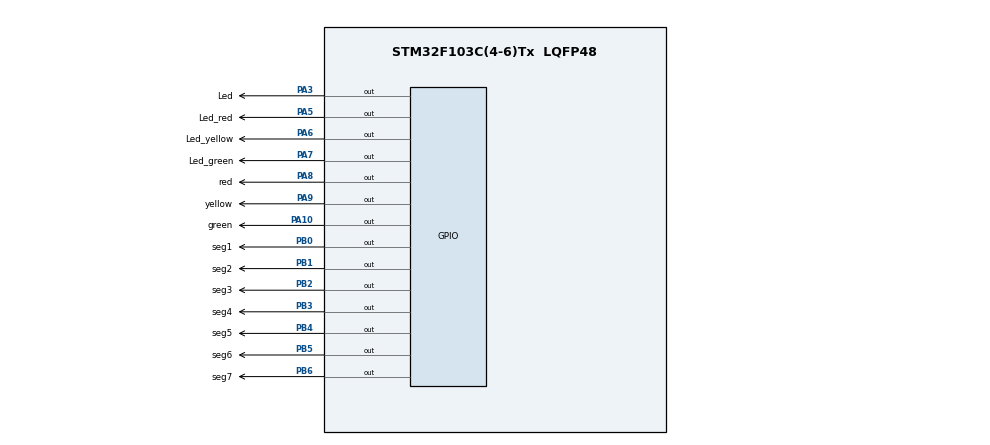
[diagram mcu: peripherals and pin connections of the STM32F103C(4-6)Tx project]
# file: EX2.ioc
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Mcu.Family=STM32F1
Mcu.Name=STM32F103C(4-6)Tx
Mcu.Package=LQFP48
NVIC.PriorityGroup=NVIC_PRIORITYGROUP_4
NVIC.TIM2_IRQn=true\:0\:0\:false\:false\:true\:true\:true\:true
PA10.GPIO_Label=green
PA10.Signal=GPIO_Output
PA3.GPIO_Label=Led
PA3.Signal=GPIO_Output
PA5.GPIO_Label=Led_red
PA5.Signal=GPIO_Output
PA6.GPIO_Label=Led_yellow
PA6.Signal=GPIO_Output
PA7.GPIO_Label=Led_green
PA7.Signal=GPIO_Output
PA8.GPIO_Label=red
PA8.Signal=GPIO_Output
PA9.GPIO_Label=yellow
PA9.Signal=GPIO_Output
PB0.GPIO_Label=seg1
PB0.Signal=GPIO_Output
PB1.GPIO_Label=seg2
PB1.Signal=GPIO_Output
PB2.GPIO_Label=seg3
PB2.Signal=GPIO_Output
PB3.GPIO_Label=seg4
PB3.Signal=GPIO_Output
PB4.GPIO_Label=seg5
PB4.Signal=GPIO_Output
PB5.GPIO_Label=seg6
PB5.Signal=GPIO_Output
PB6.GPIO_Label=seg7
PB6.Signal=GPIO_Output
ProjectManager.HeapSize=0x200
ProjectManager.StackSize=0x400
ProjectManager.TargetToolchain=STM32CubeIDE
RCC.APB1Freq_Value=8000000
RCC.APB2Freq_Value=8000000
TIM2.Period=9
TIM2.Prescaler=7999
VP_SYS_VS_ND.Mode=No_Debug
VP_TIM2_VS_ClockSourceINT.Mode=Internal
board=custom

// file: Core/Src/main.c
/* USER CODE BEGIN Header */
/**
  ******************************************************************************
  * @file           : main.c
  * @brief          : Main program body
  ******************************************************************************
  * @attention
  *
  * Copyright (c) 2024 STMicroelectronics.
  * All rights reserved.
  *
  * This software is licensed under terms that can be found in the LICENSE file
  * in the root directory of this software component.
  * If no LICENSE file comes with this software, it is provided AS-IS.
  *
  ******************************************************************************
  */
/* USER CODE END Header */
#include "main.h"

/* USER CODE BEGIN Includes */
#include "software_timer.h"
/* USER CODE END Includes */

TIM_HandleTypeDef htim2;

void SystemClock_Config(void);
static void MX_GPIO_Init(void);
static void MX_TIM2_Init(void);

int main(void)
{

  /* USER CODE BEGIN 1 */
	void run1(){
		HAL_GPIO_WritePin(red_GPIO_Port, red_Pin, RESET);
					HAL_GPIO_WritePin(yellow_GPIO_Port, yellow_Pin, RESET);
					HAL_GPIO_WritePin(green_GPIO_Port, green_Pin, RESET);
	}

	void run2(){
		HAL_GPIO_WritePin(Led_red_GPIO_Port, Led_red_Pin, RESET);
				HAL_GPIO_WritePin(Led_yellow_GPIO_Port, Led_yellow_Pin, RESET);
				HAL_GPIO_WritePin(Led_green_GPIO_Port, Led_green_Pin, RESET);
	}

	void run_led(int a){
		 switch(a){
			 case 0:
				 HAL_GPIO_WritePin(seg1_GPIO_Port, seg1_Pin, GPIO_PIN_RESET);
				   HAL_GPIO_WritePin(seg2_GPIO_Port, seg2_Pin, GPIO_PIN_RESET);
				   HAL_GPIO_WritePin(seg3_GPIO_Port, seg3_Pin, GPIO_PIN_RESET);
				   HAL_GPIO_WritePin(seg4_GPIO_Port, seg4_Pin, GPIO_PIN_RESET);
				   HAL_GPIO_WritePin(seg5_GPIO_Port, seg5_Pin, GPIO_PIN_RESET);
				   HAL_GPIO_WritePin(seg6_GPIO_Port, seg6_Pin, GPIO_PIN_RESET);
				   HAL_GPIO_WritePin(seg7_GPIO_Port, seg7_Pin, GPIO_PIN_SET);

				   break;

			 case 1:
				 HAL_GPIO_WritePin(seg2_GPIO_Port, seg2_Pin, GPIO_PIN_RESET);
				HAL_GPIO_WritePin(seg3_GPIO_Port, seg3_Pin, GPIO_PIN_RESET);

				HAL_GPIO_WritePin(seg1_GPIO_Port, seg1_Pin, GPIO_PIN_SET);
				  HAL_GPIO_WritePin(seg4_GPIO_Port, seg4_Pin, GPIO_PIN_SET);
				  HAL_GPIO_WritePin(seg5_GPIO_Port, seg5_Pin, GPIO_PIN_SET);
				  HAL_GPIO_WritePin(seg6_GPIO_Port, seg6_Pin, GPIO_PIN_SET);
				  HAL_GPIO_WritePin(seg7_GPIO_Port, seg7_Pin, GPIO_PIN_SET);

				  break;

			 case 2:
				 HAL_GPIO_WritePin(seg1_GPIO_Port, seg1_Pin, GPIO_PIN_RESET);
						   HAL_GPIO_WritePin(seg2_GPIO_Port, seg2_Pin, GPIO_PIN_RESET);
						   HAL_GPIO_WritePin(seg4_GPIO_Port, seg4_Pin, GPIO_PIN_RESET);
						  		   HAL_GPIO_WritePin(seg5_GPIO_Port, seg5_Pin, GPIO_PIN_RESET);
						  		 HAL_GPIO_WritePin(seg7_GPIO_Port, seg7_Pin, GPIO_PIN_RESET);

						  		  HAL_GPIO_WritePin(seg3_GPIO_Port, seg3_Pin, GPIO_PIN_SET);
						  		  HAL_GPIO_WritePin(seg6_GPIO_Port, seg6_Pin, GPIO_PIN_SET);
						  		  break;

			 case 3:
				 HAL_GPIO_WritePin(seg1_GPIO_Port, seg1_Pin, GPIO_PIN_RESET);
						   HAL_GPIO_WritePin(seg2_GPIO_Port, seg2_Pin, GPIO_PIN_RESET);
						   HAL_GPIO_WritePin(seg3_GPIO_Port, seg3_Pin, GPIO_PIN_RESET);
						   HAL_GPIO_WritePin(seg4_GPIO_Port, seg4_Pin, GPIO_PIN_RESET);
						   HAL_GPIO_WritePin(seg5_GPIO_Port, seg5_Pin, GPIO_PIN_SET);
						   HAL_GPIO_WritePin(seg6_GPIO_Port, seg6_Pin, GPIO_PIN_SET);
						   HAL_GPIO_WritePin(seg7_GPIO_Port, seg7_Pin, GPIO_PIN_RESET);
						   break;

			 case 4:
				 HAL_GPIO_WritePin(seg1_GPIO_Port, seg1_Pin, GPIO_PIN_SET);
						   HAL_GPIO_WritePin(seg2_GPIO_Port, seg2_Pin, GPIO_PIN_RESET);
						   HAL_GPIO_WritePin(seg3_GPIO_Port, seg3_Pin, GPIO_PIN_RESET);
						   HAL_GPIO_WritePin(seg4_GPIO_Port, seg4_Pin, GPIO_PIN_SET);
						   HAL_GPIO_WritePin(seg5_GPIO_Port, seg5_Pin, GPIO_PIN_SET);
						   HAL_GPIO_WritePin(seg6_GPIO_Port, seg6_Pin, GPIO_PIN_RESET);
						   HAL_GPIO_WritePin(seg7_GPIO_Port, seg7_Pin, GPIO_PIN_RESET);

						   break;

			 case 5:
				 HAL_GPIO_WritePin(seg1_GPIO_Port, seg1_Pin, GPIO_PIN_RESET);
						   HAL_GPIO_WritePin(seg2_GPIO_Port, seg2_Pin, GPIO_PIN_SET);
						   HAL_GPIO_WritePin(seg3_GPIO_Port, seg3_Pin, GPIO_PIN_RESET);
						   HAL_GPIO_WritePin(seg4_GPIO_Port, seg4_Pin, GPIO_PIN_RESET);
						   HAL_GPIO_WritePin(seg5_GPIO_Port, seg5_Pin, GPIO_PIN_SET);
						   HAL_GPIO_WritePin(seg6_GPIO_Port, seg6_Pin, GPIO_PIN_RESET);
						   HAL_GPIO_WritePin(seg7_GPIO_Port, seg7_Pin, GPIO_PIN_RESET);
						   break;
	}
	}
  /* USER CODE END 1 */

  /* MCU Configuration--------------------------------------------------------*/

  /* Reset of all peripherals, Initializes the Flash interface and the Systick. */
  HAL_Init();

  /* Configure the system clock */
  SystemClock_Config();

  /* Initialize all configured peripherals */
  MX_GPIO_Init();
  MX_TIM2_Init();
  /* USER CODE BEGIN 2 */
HAL_TIM_Base_Start_IT(&htim2);
  /* USER CODE END 2 */

  /* Infinite loop */
  /* USER CODE BEGIN WHILE */
setTimer1(100);
  int count = 11;
  int change = 2;
  while (1){
	  if(timer1_flag == 1){
		  setTimer1(100);
		  HAL_GPIO_TogglePin(Led_GPIO_Port, Led_Pin);

	  --count;
	  if(count > 5){
	  		run_led(count-5);
	  }

	  if(count <= 5 && count > 2){
		  run_led(count-2);
	  }

	  if(count <=2 && count >=0){
		  run_led(count);
	  }

if(change%2 == 0){
	run1();
if (count > 5){HAL_GPIO_WritePin(Led_red_GPIO_Port, Led_red_Pin, SET);}
if(count == 5){
	HAL_GPIO_WritePin(Led_red_GPIO_Port, Led_red_Pin, RESET);
	HAL_GPIO_WritePin(Led_yellow_GPIO_Port, Led_yellow_Pin, SET);
	HAL_GPIO_WritePin(Led_green_GPIO_Port, Led_green_Pin, RESET);
	  }
if(count == 2){
	HAL_GPIO_WritePin(Led_red_GPIO_Port, Led_red_Pin, RESET);
		HAL_GPIO_WritePin(Led_yellow_GPIO_Port, Led_yellow_Pin, RESET);
		HAL_GPIO_WritePin(Led_green_GPIO_Port, Led_green_Pin, SET);
  	  }

if(count == 0){
	HAL_GPIO_WritePin(Led_red_GPIO_Port, Led_red_Pin, RESET);
		HAL_GPIO_WritePin(Led_yellow_GPIO_Port, Led_yellow_Pin, RESET);
		HAL_GPIO_WritePin(Led_green_GPIO_Port, Led_green_Pin, RESET);
	  count = 11;
	  change++;
  }
}else if(change%2!=0){
 run2();
 if (count > 5){HAL_GPIO_WritePin(red_GPIO_Port, red_Pin, SET);}
if(count == 5){
	HAL_GPIO_WritePin(red_GPIO_Port, red_Pin, RESET);
		HAL_GPIO_WritePin(yellow_GPIO_Port, yellow_Pin, SET);
		HAL_GPIO_WritePin(green_GPIO_Port, green_Pin, RESET);
	  }
if(count == 2){
	HAL_GPIO_WritePin(red_GPIO_Port, red_Pin, RESET);
			HAL_GPIO_WritePin(yellow_GPIO_Port, yellow_Pin, RESET);
			HAL_GPIO_WritePin(green_GPIO_Port, green_Pin, SET);
	  }

if(count == 0){
	HAL_GPIO_WritePin(red_GPIO_Port, red_Pin, RESET);
			HAL_GPIO_WritePin(yellow_GPIO_Port, yellow_Pin, RESET);
			HAL_GPIO_WritePin(green_GPIO_Port, green_Pin, RESET);
	  count = 11;
	  change++;
}
}

	  } //timer

    /* USER CODE END WHILE */

  }
}

void SystemClock_Config(void)
{
  RCC_OscInitTypeDef RCC_OscInitStruct = {0};
  RCC_ClkInitTypeDef RCC_ClkInitStruct = {0};

  /** Initializes the RCC Oscillators according to the specified parameters
  * in the RCC_OscInitTypeDef structure.
  */
  RCC_OscInitStruct.OscillatorType = RCC_OSCILLATORTYPE_HSI;
  RCC_OscInitStruct.HSIState = RCC_HSI_ON;
  RCC_OscInitStruct.HSICalibrationValue = RCC_HSICALIBRATION_DEFAULT;
  RCC_OscInitStruct.PLL.PLLState = RCC_PLL_NONE;
  if (HAL_RCC_OscConfig(&RCC_OscInitStruct) != HAL_OK)
  {
    Error_Handler();
  }

  /** Initializes the CPU, AHB and APB buses clocks
  */
  RCC_ClkInitStruct.ClockType = RCC_CLOCKTYPE_HCLK|RCC_CLOCKTYPE_SYSCLK
                              |RCC_CLOCKTYPE_PCLK1|RCC_CLOCKTYPE_PCLK2;
  RCC_ClkInitStruct.SYSCLKSource = RCC_SYSCLKSOURCE_HSI;
  RCC_ClkInitStruct.AHBCLKDivider = RCC_SYSCLK_DIV1;
  RCC_ClkInitStruct.APB1CLKDivider = RCC_HCLK_DIV1;
  RCC_ClkInitStruct.APB2CLKDivider = RCC_HCLK_DIV1;

  if (HAL_RCC_ClockConfig(&RCC_ClkInitStruct, FLASH_LATENCY_0) != HAL_OK)
  {
    Error_Handler();
  }
}

static void MX_TIM2_Init(void)
{

  TIM_ClockConfigTypeDef sClockSourceConfig = {0};
  TIM_MasterConfigTypeDef sMasterConfig = {0};

  htim2.Instance = TIM2;
  htim2.Init.Prescaler = 7999;
  htim2.Init.CounterMode = TIM_COUNTERMODE_UP;
  htim2.Init.Period = 9;
  htim2.Init.ClockDivision = TIM_CLOCKDIVISION_DIV1;
  htim2.Init.AutoReloadPreload = TIM_AUTORELOAD_PRELOAD_DISABLE;
  if (HAL_TIM_Base_Init(&htim2) != HAL_OK)
  {
    Error_Handler();
  }
  sClockSourceConfig.ClockSource = TIM_CLOCKSOURCE_INTERNAL;
  if (HAL_TIM_ConfigClockSource(&htim2, &sClockSourceConfig) != HAL_OK)
  {
    Error_Handler();
  }
  sMasterConfig.MasterOutputTrigger = TIM_TRGO_RESET;
  sMasterConfig.MasterSlaveMode = TIM_MASTERSLAVEMODE_DISABLE;
  if (HAL_TIMEx_MasterConfigSynchronization(&htim2, &sMasterConfig) != HAL_OK)
  {
    Error_Handler();
  }

}

static void MX_GPIO_Init(void)
{
  GPIO_InitTypeDef GPIO_InitStruct = {0};

  /* GPIO Ports Clock Enable */
  __HAL_RCC_GPIOA_CLK_ENABLE();
  __HAL_RCC_GPIOB_CLK_ENABLE();

  /*Configure GPIO pin Output Level */
  HAL_GPIO_WritePin(GPIOA, Led_Pin|Led_red_Pin|Led_yellow_Pin|Led_green_Pin
                          |red_Pin|yellow_Pin|green_Pin, GPIO_PIN_RESET);

  /*Configure GPIO pin Output Level */
  HAL_GPIO_WritePin(GPIOB, seg1_Pin|seg2_Pin|seg3_Pin|seg4_Pin
                          |seg5_Pin|seg6_Pin|seg7_Pin, GPIO_PIN_RESET);

  /*Configure GPIO pins : Led_Pin Led_red_Pin Led_yellow_Pin Led_green_Pin
                           red_Pin yellow_Pin green_Pin */
  GPIO_InitStruct.Pin = Led_Pin|Led_red_Pin|Led_yellow_Pin|Led_green_Pin
                          |red_Pin|yellow_Pin|green_Pin;
  GPIO_InitStruct.Mode = GPIO_MODE_OUTPUT_PP;
  GPIO_InitStruct.Pull = GPIO_NOPULL;
  GPIO_InitStruct.Speed = GPIO_SPEED_FREQ_LOW;
  HAL_GPIO_Init(GPIOA, &GPIO_InitStruct);

  /*Configure GPIO pins : seg1_Pin seg2_Pin seg3_Pin seg4_Pin
                           seg5_Pin seg6_Pin seg7_Pin */
  GPIO_InitStruct.Pin = seg1_Pin|seg2_Pin|seg3_Pin|seg4_Pin
                          |seg5_Pin|seg6_Pin|seg7_Pin;
  GPIO_InitStruct.Mode = GPIO_MODE_OUTPUT_PP;
  GPIO_InitStruct.Pull = GPIO_NOPULL;
  GPIO_InitStruct.Speed = GPIO_SPEED_FREQ_LOW;
  HAL_GPIO_Init(GPIOB, &GPIO_InitStruct);

}

/* USER CODE BEGIN 4 */
void HAL_TIM_PeriodElapsedCallback(TIM_HandleTypeDef *htim){
	runTimer();
}
/* USER CODE END 4 */

void Error_Handler(void)
{
  __disable_irq();
  while (1)
  {
  }
}
